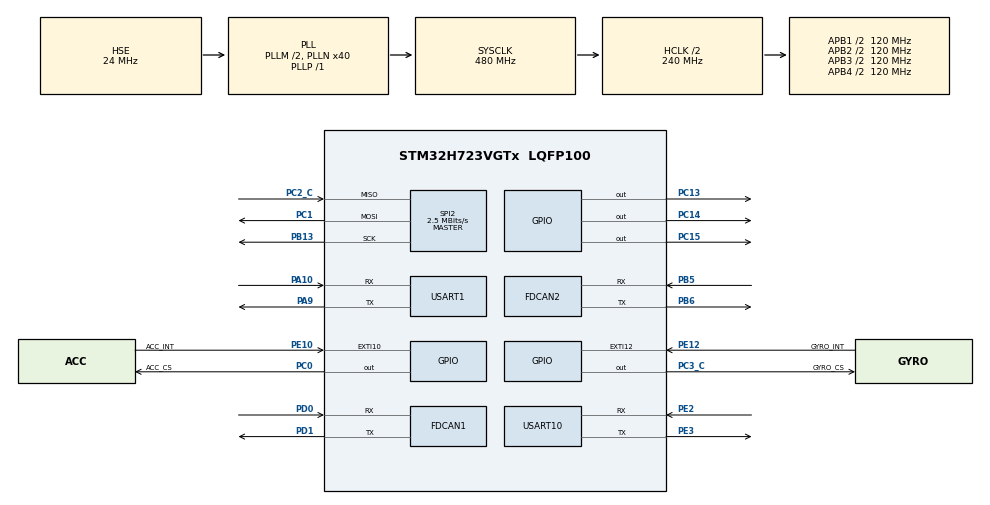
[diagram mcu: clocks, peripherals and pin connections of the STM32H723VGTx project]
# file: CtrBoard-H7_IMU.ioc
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Dma.Request0=SPI2_RX
Dma.Request1=SPI2_TX
Dma.SPI2_RX.0.Direction=DMA_PERIPH_TO_MEMORY
Dma.SPI2_RX.0.EventEnable=DISABLE
Dma.SPI2_RX.0.FIFOMode=DMA_FIFOMODE_DISABLE
Dma.SPI2_RX.0.Instance=DMA1_Stream0
Dma.SPI2_RX.0.MemDataAlignment=DMA_MDATAALIGN_BYTE
Dma.SPI2_RX.0.MemInc=DMA_MINC_ENABLE
Dma.SPI2_RX.0.Mode=DMA_NORMAL
Dma.SPI2_RX.0.PeriphDataAlignment=DMA_PDATAALIGN_BYTE
Dma.SPI2_RX.0.PeriphInc=DMA_PINC_DISABLE
Dma.SPI2_RX.0.Polarity=HAL_DMAMUX_REQ_GEN_RISING
Dma.SPI2_RX.0.Priority=DMA_PRIORITY_VERY_HIGH
Dma.SPI2_RX.0.RequestNumber=1
Dma.SPI2_RX.0.SignalID=NONE
Dma.SPI2_RX.0.SyncEnable=DISABLE
Dma.SPI2_RX.0.SyncPolarity=HAL_DMAMUX_SYNC_NO_EVENT
Dma.SPI2_RX.0.SyncRequestNumber=1
Dma.SPI2_RX.0.SyncSignalID=NONE
Dma.SPI2_TX.1.Direction=DMA_MEMORY_TO_PERIPH
Dma.SPI2_TX.1.EventEnable=DISABLE
Dma.SPI2_TX.1.FIFOMode=DMA_FIFOMODE_DISABLE
Dma.SPI2_TX.1.Instance=DMA1_Stream1
Dma.SPI2_TX.1.MemDataAlignment=DMA_MDATAALIGN_BYTE
Dma.SPI2_TX.1.MemInc=DMA_MINC_ENABLE
Dma.SPI2_TX.1.Mode=DMA_NORMAL
Dma.SPI2_TX.1.PeriphDataAlignment=DMA_PDATAALIGN_BYTE
Dma.SPI2_TX.1.PeriphInc=DMA_PINC_DISABLE
Dma.SPI2_TX.1.Polarity=HAL_DMAMUX_REQ_GEN_RISING
Dma.SPI2_TX.1.Priority=DMA_PRIORITY_HIGH
Dma.SPI2_TX.1.RequestNumber=1
Dma.SPI2_TX.1.SignalID=NONE
Dma.SPI2_TX.1.SyncEnable=DISABLE
Dma.SPI2_TX.1.SyncPolarity=HAL_DMAMUX_SYNC_NO_EVENT
Dma.SPI2_TX.1.SyncRequestNumber=1
Dma.SPI2_TX.1.SyncSignalID=NONE
FDCAN1.AutoRetransmission=ENABLE
FDCAN1.CalculateBaudRateNominal=1000000
FDCAN1.CalculateTimeBitNominal=1000
FDCAN1.CalculateTimeQuantumNominal=12.5
FDCAN1.DataSyncJumpWidth=2
FDCAN1.DataTimeSeg1=13
FDCAN1.DataTimeSeg2=2
FDCAN1.ExtFiltersNbr=4
FDCAN1.Mode=FDCAN_MODE_NORMAL
FDCAN1.NominalPrescaler=1
FDCAN1.NominalSyncJumpWidth=20
FDCAN1.NominalTimeSeg1=59
FDCAN1.NominalTimeSeg2=20
FDCAN1.ProtocolException=ENABLE
FDCAN1.RxBuffersNbr=2
FDCAN1.RxFifo0ElmtsNbr=8
FDCAN1.RxFifo1ElmtsNbr=8
FDCAN1.StdFiltersNbr=4
FDCAN1.TxBuffersNbr=8
FDCAN1.TxEventsNbr=8
FDCAN1.TxFifoQueueElmtsNbr=8
FDCAN2.AutoRetransmission=ENABLE
FDCAN2.CalculateBaudRateNominal=1000000
FDCAN2.CalculateTimeBitNominal=1000
FDCAN2.CalculateTimeQuantumNominal=12.5
FDCAN2.DataSyncJumpWidth=2
FDCAN2.DataTimeSeg1=13
FDCAN2.DataTimeSeg2=2
FDCAN2.ExtFiltersNbr=4
FDCAN2.NominalPrescaler=1
FDCAN2.NominalSyncJumpWidth=20
FDCAN2.NominalTimeSeg1=59
FDCAN2.NominalTimeSeg2=20
FDCAN2.ProtocolException=ENABLE
FDCAN2.RxBuffersNbr=2
FDCAN2.RxFifo0ElmtsNbr=8
FDCAN2.RxFifo1ElmtsNbr=8
FDCAN2.StdFiltersNbr=4
FDCAN2.TxBuffersNbr=8
FDCAN2.TxEventsNbr=8
FDCAN2.TxFifoQueueElmtsNbr=8
Mcu.Family=STM32H7
Mcu.Name=STM32H723VGTx
Mcu.Package=LQFP100
NVIC.DMA1_Stream0_IRQn=true\:1\:0\:true\:false\:true\:false\:true\:true
NVIC.DMA1_Stream1_IRQn=true\:2\:0\:true\:false\:true\:false\:true\:true
NVIC.FDCAN1_IT0_IRQn=true\:0\:0\:false\:false\:true\:true\:true\:true
NVIC.FDCAN1_IT1_IRQn=true\:0\:0\:false\:false\:true\:true\:true\:true
NVIC.PriorityGroup=NVIC_PRIORITYGROUP_4
NVIC.SPI2_IRQn=true\:5\:0\:true\:false\:true\:false\:true\:true
NVIC.TIM2_IRQn=true\:0\:0\:false\:false\:true\:true\:true\:true
NVIC.USART10_IRQn=true\:0\:0\:false\:false\:true\:true\:true\:true
PA10.Mode=Asynchronous
PA10.Signal=USART1_RX
PA13(JTMS/SWDIO).Mode=Serial_Wire
PA13(JTMS/SWDIO).Signal=DEBUG_JTMS-SWDIO
PA14(JTCK/SWCLK).Mode=Serial_Wire
PA14(JTCK/SWCLK).Signal=DEBUG_JTCK-SWCLK
PA9.Mode=Asynchronous
PA9.Signal=USART1_TX
PB13.GPIO_Speed=GPIO_SPEED_FREQ_VERY_HIGH
PB13.Mode=Full_Duplex_Master
PB13.Signal=SPI2_SCK
PB5.Mode=FDCAN_Activate
PB5.Signal=FDCAN2_RX
PB6.Mode=FDCAN_Activate
PB6.Signal=FDCAN2_TX
PC0.GPIO_Label=ACC_CS
PC0.GPIO_Speed=GPIO_SPEED_FREQ_VERY_HIGH
PC0.PinState=GPIO_PIN_SET
PC0.Signal=GPIO_Output
PC1.GPIO_Speed=GPIO_SPEED_FREQ_VERY_HIGH
PC1.Mode=Full_Duplex_Master
PC1.Signal=SPI2_MOSI
PC13.Signal=GPIO_Output
PC14-OSC32_IN.Signal=GPIO_Output
PC15-OSC32_OUT.Signal=GPIO_Output
PC2_C.GPIO_Speed=GPIO_SPEED_FREQ_VERY_HIGH
PC2_C.Mode=Full_Duplex_Master
PC2_C.Signal=SPI2_MISO
PC3_C.GPIO_Label=GYRO_CS
PC3_C.GPIO_Speed=GPIO_SPEED_FREQ_VERY_HIGH
PC3_C.PinState=GPIO_PIN_SET
PC3_C.Signal=GPIO_Output
PD0.Mode=FDCAN_Activate
PD0.Signal=FDCAN1_RX
PD1.Mode=FDCAN_Activate
PD1.Signal=FDCAN1_TX
PE10.GPIO_Label=ACC_INT
PE10.Signal=GPXTI10
PE12.GPIO_Label=GYRO_INT
PE12.Signal=GPXTI12
PE2.Mode=Asynchronous
PE2.Signal=USART10_RX
PE3.Mode=Asynchronous
PE3.Signal=USART10_TX
PH0-OSC_IN.Mode=HSE-External-Oscillator
PH0-OSC_IN.Signal=RCC_OSC_IN
PH1-OSC_OUT.Mode=HSE-External-Oscillator
PH1-OSC_OUT.Signal=RCC_OSC_OUT
ProjectManager.HeapSize=0x200
ProjectManager.StackSize=0x800
ProjectManager.TargetToolchain=STM32CubeIDE
RCC.ADCFreq_Value=48375000
RCC.APB1Freq_Value=120000000
RCC.APB2Freq_Value=120000000
RCC.APB3Freq_Value=120000000
RCC.APB4Freq_Value=120000000
RCC.CortexFreq_Value=480000000
RCC.D1PPRE=RCC_APB3_DIV2
RCC.D2PPRE1=RCC_APB1_DIV2
RCC.D2PPRE2=RCC_APB2_DIV2
RCC.D3PPRE=RCC_APB4_DIV2
RCC.DIVM1=2
RCC.DIVN1=40
RCC.DIVP1=1
RCC.DIVQ1=6
RCC.HCLKFreq_Value=240000000
RCC.HPRE=RCC_HCLK_DIV2
RCC.HSE_VALUE=24000000
RCC.PLL2FRACN=0
RCC.PLL3FRACN=0
RCC.PLLFRACN=0
RCC.PLLSourceVirtual=RCC_PLLSOURCE_HSE
RCC.SYSCLKFreq_VALUE=480000000
RCC.SYSCLKSource=RCC_SYSCLKSOURCE_PLLCLK
RCC.USBFreq_Value=80000000
SPI2.BaudRatePrescaler=SPI_BAUDRATEPRESCALER_32
SPI2.CLKPhase=SPI_PHASE_2EDGE
SPI2.CLKPolarity=SPI_POLARITY_HIGH
SPI2.CalculateBaudRate=2.5 MBits/s
SPI2.DataSize=SPI_DATASIZE_8BIT
SPI2.Direction=SPI_DIRECTION_2LINES
SPI2.Mode=SPI_MODE_MASTER
SPI2.VirtualType=VM_MASTER
TIM2.Period=999
TIM2.Prescaler=239
USART1.VirtualMode-Asynchronous=VM_ASYNC
USART10.VirtualMode=VM_ASYNC
VP_MEMORYMAP_VS_MEMORYMAP.Mode=CurAppReg
VP_TIM2_VS_ClockSourceINT.Mode=Internal
board=custom

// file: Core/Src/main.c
/* USER CODE BEGIN Header */
/**
  ******************************************************************************
  * @file           : main.c
  * @brief          : Main program body
  ******************************************************************************
  * @attention
  *
  * Copyright (c) 2025 STMicroelectronics.
  * All rights reserved.
  *
  * This software is licensed under terms that can be found in the LICENSE file
  * in the root directory of this software component.
  * If no LICENSE file comes with this software, it is provided AS-IS.
  *
  ******************************************************************************
  */
/* USER CODE END Header */
#include "main.h"
#include "dma.h"
#include "fdcan.h"
#include "spi.h"
#include "tim.h"
#include "usart.h"
#include "gpio.h"

/* USER CODE BEGIN Includes */
//#include "BMI088driver.h"
#include "BMI088Middleware.h"
#include <string.h>
#include <stdio.h>
/* USER CODE END Includes */

/* USER CODE BEGIN PV */
// --- Speed control loop configuration ---
    float v_target = 0.0f;          // Target linear velocity (can be 0 initially; later from RC/manual)
    float Kv_p     = 0.1f;          // Velocity P gain (tune gradually)
    float Kv_i     = 0.01f;         // Velocity I gain (start small)

    float v_integral      = 0.0f;
    float v_integral_limit = 5.0f;  // Prevent integral windup

    float base_pitch       = -1.5f; // Calibrated base pitch (degrees)
    float pitch_speed_limit = 6.0f; // Maximum pitch offset from joystick (degrees)
    float torque_limit      = 1.5f; // Max motor torque headroom

    // Velocity loop frequency: 1kHz / 10 = 100 Hz
	#define VEL_LOOP_DIV 10
	uint8_t vel_loop_counter = 0;

	volatile float odrive_left_vel  = 0.0f;
	volatile float odrive_right_vel = 0.0f;
	volatile float odrive_left_pos  = 0.0f;
	volatile float odrive_right_pos = 0.0f;

    // ===== YAW control =====
    float yaw               = 0.0f;      // Current yaw angle (approx. from integration)
    float Ky_p              = 0.0f;      // Yaw angle P gain
    float Ky_d              = 0.02f;     // Yaw rate D gain
    float yaw_torque_limit  = 0.4f;      // Maximum torque allocated to yaw

    // Wheel / robot geometry parameters (adjust to your robot)
    #define WHEEL_RADIUS_M   0.06f   // 0.06 m (example: 6 cm radius)
    #define GEAR_RATIO       1.0f    // Use 1.0 for direct drive, or set gearbox reduction ratio

    // Position loop
    float x_target      = 0.0f;     // Desired robot position (x=0)
    float Kx_p          = 0.0f;     // Position P gain (try 0.5~2 to start)
    float Kx_i          = 0.0f;     // Position I (start disabled; enable after tuning)
    float x_integral    = 0.0f;
    float x_int_limit   = 0.5f;     // Integral limit (meters)

    // Record initial average position at power-up
    float x0_turns = 0.0f;          // Origin in wheel turns
    uint8_t pos_initialized = 0;    // Position initialization flag

    // Global variables:
	volatile float odrive_left_pos_turns  = 0.0f;
	volatile float odrive_right_pos_turns = 0.0f;
	volatile float odrive_left_vel_turns  = 0.0f;
	volatile float odrive_right_vel_turns = 0.0f;

	// === RC command from Pi (forward/back & left/right) ===
	volatile float rc_fb = 0.0f;   // -1.0 .. +1.0 (forward/back)
	volatile float rc_lr = 0.0f;   // -1.0 .. +1.0 (left/right turn)

	static uint8_t uart10_rx_byte = 0;

	// UART10 simple frame parser state
	typedef enum {
	    RC_STATE_WAIT_AA = 0,
	    RC_STATE_WAIT_55,
	    RC_STATE_FB,
	    RC_STATE_LR,
	    RC_STATE_CHK
	} RC_State_t;

	static RC_State_t rc_state = RC_STATE_WAIT_AA;
	static int8_t rc_fb_int = 0;
	static int8_t rc_lr_int = 0;
	static uint8_t rc_checksum = 0;
	static uint8_t rc_sum = 0;
	// debug:
	volatile uint32_t rc_byte_count      = 0;   // total bytes seen on USART1
	volatile uint32_t rc_frame_ok_count  = 0;   // frames with correct checksum
	volatile int8_t   rc_last_fb_int     = 0;
	volatile int8_t   rc_last_lr_int     = 0;

	volatile uint8_t  rc_last_byte       = 0;

/* USER CODE END PV */

void SystemClock_Config(void);

/* USER CODE BEGIN 0 */
#include "bsp_fdcan.h"

// ===== Debug: loop frequency & UART print =====
char uart_buf[128];
uint32_t loop_counter  = 0;
uint32_t last_print_ms = 0;

// ===== Mini ODrive CAN constants =====
#define ODRIVE_LEFT_NODE_ID   2   // CAN1
#define ODRIVE_RIGHT_NODE_ID  3   // CAN2

#define CMD_SET_AXIS_STATE       0x07
#define CMD_SET_CONTROLLER_MODE  0x0B
#define CMD_SET_INPUT_TORQUE     0x0E
#define CMD_GET_ENCODER_ESTIMATES  0x09

#define AXIS_STATE_IDLE          1
#define AXIS_STATE_CLOSED_LOOP   8

#define CONTROL_MODE_TORQUE      1
#define INPUT_MODE_PASSTHROUGH   1

// 1 kHz loop
volatile uint8_t imu_loop_flag = 0;
volatile float   pitch = 0.0f;
volatile float   roll  = 0.0f;

#define RAD2DEG 57.2957795f
const float dt = 0.001f;    // 1 kHz

// ===== Balance controller gains (tune these) =====
float Kp = 0.004f;            // proportional on angle (deg)
float Kd = 0.02f;           // derivative on rate (deg/s)
float Ki = 0.008f;            // you can start with 0

float pitch_target = 0.0f;
float integral_term = 0.0f;
float integral_limit = 10.0f;

// ===== CAN helper =====
static inline uint16_t odrive_build_id(uint8_t node_id, uint8_t cmd_id)
{
    return ((uint16_t)node_id << 5) | (cmd_id & 0x1F);
}

void odrive_set_axis_state(FDCAN_HandleTypeDef *hcan, uint8_t node_id, uint32_t state)
{
    uint8_t data[8] = {0};
    data[0] = (uint8_t)(state & 0xFF);
    data[1] = (uint8_t)((state >> 8) & 0xFF);
    data[2] = (uint8_t)((state >> 16) & 0xFF);
    data[3] = (uint8_t)((state >> 24) & 0xFF);

    uint16_t id = odrive_build_id(node_id, CMD_SET_AXIS_STATE);
    fdcanx_send_data(hcan, id, data, 4);
}

void odrive_set_controller_mode(FDCAN_HandleTypeDef *hcan,
                                uint8_t node_id,
                                uint32_t control_mode,
                                uint32_t input_mode)
{
    uint8_t data[8];

    data[0] = (uint8_t)(control_mode & 0xFF);
    data[1] = (uint8_t)((control_mode >> 8) & 0xFF);
    data[2] = (uint8_t)((control_mode >> 16) & 0xFF);
    data[3] = (uint8_t)((control_mode >> 24) & 0xFF);

    data[4] = (uint8_t)(input_mode & 0xFF);
    data[5] = (uint8_t)((input_mode >> 8) & 0xFF);
    data[6] = (uint8_t)((input_mode >> 16) & 0xFF);
    data[7] = (uint8_t)((input_mode >> 24) & 0xFF);

    uint16_t id = odrive_build_id(node_id, CMD_SET_CONTROLLER_MODE);
    fdcanx_send_data(hcan, id, data, 8);
}

void odrive_set_input_torque(FDCAN_HandleTypeDef *hcan, uint8_t node_id, float torque)
{
    uint8_t data[8] = {0};

    union {
        float f;
        uint8_t b[4];
    } u;
    u.f = torque;

    data[0] = u.b[0];
    data[1] = u.b[1];
    data[2] = u.b[2];
    data[3] = u.b[3];

    uint16_t id = odrive_build_id(node_id, CMD_SET_INPUT_TORQUE);
    fdcanx_send_data(hcan, id, data, 4);
}

    typedef struct {
        float pos_turns;   // Position in wheel turns
        float vel_turns_s; // Velocity in turns per second
    } OdriveState;

OdriveState odrive_get_state(FDCAN_HandleTypeDef *hcan, uint8_t node_id)
{
    OdriveState st = {0.0f, 0.0f};

    uint16_t req_id = odrive_build_id(node_id, CMD_GET_ENCODER_ESTIMATES);

    uint8_t tx_data[8] = {0};
    fdcanx_send_data(hcan, req_id, tx_data, 0);  // Request

    uint32_t start = HAL_GetTick();
    uint16_t rec_id;
    uint8_t rx_buf[8];

    while ((HAL_GetTick() - start) < 2)   // Wait at most 2 ms
    {
        uint8_t len = fdcanx_receive(hcan, &rec_id, rx_buf);
        if (len > 0 && rec_id == req_id)
        {
            union { float f; uint8_t b[4]; } u_pos, u_vel;
            u_pos.b[0] = rx_buf[0];
            u_pos.b[1] = rx_buf[1];
            u_pos.b[2] = rx_buf[2];
            u_pos.b[3] = rx_buf[3];

            u_vel.b[0] = rx_buf[4];
            u_vel.b[1] = rx_buf[5];
            u_vel.b[2] = rx_buf[6];
            u_vel.b[3] = rx_buf[7];

            st.pos_turns   = u_pos.f;
            st.vel_turns_s = u_vel.f;
            return st;
        }
    }

    return st; // Return zeros if no response received
}

// === RC UART frame parser: 0xAA 0x55 fb_int lr_int checksum ===
static void RC_UART_ProcessByte(uint8_t b)
{
    switch (rc_state)
    {
    case RC_STATE_WAIT_AA:
        if (b == 0xAA) {
            rc_state = RC_STATE_WAIT_55;
            rc_sum = b;
        }
        break;

    case RC_STATE_WAIT_55:
        if (b == 0x55) {
            rc_state = RC_STATE_FB;
            rc_sum += b;
        } else {
            rc_state = RC_STATE_WAIT_AA;
        }
        break;

    case RC_STATE_FB:
        rc_fb_int = (int8_t)b;
        rc_sum += b;
        rc_state = RC_STATE_LR;
        break;

    case RC_STATE_LR:
        rc_lr_int = (int8_t)b;
        rc_sum += b;
        rc_state = RC_STATE_CHK;
        break;

    case RC_STATE_CHK:
        rc_checksum = b;
        if ((rc_sum & 0xFF) == rc_checksum)
        {
            rc_fb = (float)rc_fb_int / 100.0f;
            rc_lr = (float)rc_lr_int / 100.0f;

            rc_frame_ok_count++;
            rc_last_fb_int = rc_fb_int;
            rc_last_lr_int = rc_lr_int;
        }
        rc_state = RC_STATE_WAIT_AA;
        break;

    default:
        rc_state = RC_STATE_WAIT_AA;
        break;
    }
}
/* USER CODE END 0 */

int main(void)
{

  /* MCU Configuration--------------------------------------------------------*/

  /* Reset of all peripherals, Initializes the Flash interface and the Systick. */
  HAL_Init();

  /* Configure the system clock */
  SystemClock_Config();

  /* Initialize all configured peripherals */
  MX_GPIO_Init();
  MX_DMA_Init();
  MX_SPI2_Init();
  MX_USART1_UART_Init();
  MX_TIM2_Init();
  MX_FDCAN1_Init();
  MX_FDCAN2_Init();
  MX_USART10_UART_Init();
  /* USER CODE BEGIN 2 */

  // Start UART10 RX interrupt for RC frames from Pi
  HAL_UART_Receive_IT(&huart10, &uart10_rx_byte, 1);
  // GPIO, FDCAN, USART, TIM, SPI already in MX_*_Init();

    // Enable motor power (adjust pins if needed)
    HAL_GPIO_WritePin(GPIOC, GPIO_PIN_14, GPIO_PIN_SET);
    HAL_GPIO_WritePin(GPIOC, GPIO_PIN_13, GPIO_PIN_SET);
    HAL_GPIO_WritePin(GPIOC, GPIO_PIN_15, GPIO_PIN_SET);
    HAL_Delay(20);

    // Init CANs (this calls HAL_FDCAN_Start etc.)
    bsp_can_init();
    HAL_Delay(200);

    // Init IMU
    uint8_t imu_err = BMI088_init();
    // (optional) print ok/err via UART here

    // Start TIM2 1kHz interrupt
    HAL_TIM_Base_Start_IT(&htim2);

    // Put both ODrives into CLOSED_LOOP torque mode
    odrive_set_axis_state(&hfdcan1, ODRIVE_LEFT_NODE_ID,  AXIS_STATE_CLOSED_LOOP);
    HAL_Delay(100);
    odrive_set_controller_mode(&hfdcan1, ODRIVE_LEFT_NODE_ID, CONTROL_MODE_TORQUE, INPUT_MODE_PASSTHROUGH);
    HAL_Delay(100);

    odrive_set_axis_state(&hfdcan2, ODRIVE_RIGHT_NODE_ID, AXIS_STATE_CLOSED_LOOP);
    HAL_Delay(100);
    odrive_set_controller_mode(&hfdcan2, ODRIVE_RIGHT_NODE_ID, CONTROL_MODE_TORQUE, INPUT_MODE_PASSTHROUGH);
    HAL_Delay(100);

  /* USER CODE END 2 */

  /* Infinite loop */
  /* USER CODE BEGIN WHILE */
    float gyro[3];
    float accel[3];
    float temp = 0.0f;

    float prev_error = 0.0f;

    // === Init debug timing ===
    last_print_ms = HAL_GetTick();
    // add this:
    pitch_target = base_pitch;
  while (1)
  {
	  if (!imu_loop_flag)
	           continue;
	       imu_loop_flag = 0;

	       // 1) Read IMU
	       BMI088_read(gyro, accel, &temp);

	       // 2) Complementary filter to update pitch / roll
	       // (reuse your old code; sketch shown here)

	       const float alpha = 0.98f;
	       float ax = accel[0];
	       float ay = accel[1];
	       float az = accel[2];
	       float gx = gyro[0];   // deg/s
	       float gy = gyro[1];   // deg/s
	       float gz = gyro[2];   // deg/s  <-- YAW

	       float pitch_acc = atan2f(-ax, sqrtf(ay * ay + az * az)) * RAD2DEG;
	       float roll_acc  = atan2f( ay, az ) * RAD2DEG;

	       // assuming gy is pitch rate
	       pitch = alpha * (pitch + gy * dt) + (1.0f - alpha) * pitch_acc;
	       roll  = alpha * (roll  + gx * dt) + (1.0f - alpha) * roll_acc;
        yaw += gz * dt;   // Yaw in degrees; approximate heading (will drift over time)

	       // ==================== vel + pos loop ===========================
	       vel_loop_counter++;
	       if (vel_loop_counter >= VEL_LOOP_DIV)
	       {
	           vel_loop_counter = 0;

               // 1) Read ODrive state (kept for future position/velocity usage)
	           OdriveState st_left  = odrive_get_state(&hfdcan1, ODRIVE_LEFT_NODE_ID);
	           OdriveState st_right = odrive_get_state(&hfdcan2, ODRIVE_RIGHT_NODE_ID);

	           odrive_left_pos_turns  = st_left.pos_turns;
	           odrive_right_pos_turns = st_right.pos_turns;
	           odrive_left_vel_turns  = st_left.vel_turns_s;
	           odrive_right_vel_turns = st_right.vel_turns_s;

	           if (!pos_initialized)
	           {
	               x0_turns = 0.5f * (odrive_left_pos_turns + odrive_right_pos_turns);
	               pos_initialized = 1;
	           }

               // === RC forward/back: map directly to pitch offset ===
               float pitch_offset = rc_fb * pitch_speed_limit;   // rc_fb in [-1, 1]

	           pitch_target = base_pitch - pitch_offset;
	       }

        // =================== Attitude (pitch) PID =======================
        float error = pitch_target - pitch;     // target = 0 deg

	       integral_term += error * dt;
	       if (integral_term >  integral_limit) integral_term =  integral_limit;
	       if (integral_term < -integral_limit) integral_term = -integral_limit;

        float derivative = -gy;   // gy>0 forward tilt; derivative negative to provide damping/braking

	       float torque_cmd = Kp * error + Kd * derivative + Ki * integral_term;

        // Clamp torque command
	       if (torque_cmd >  torque_limit) torque_cmd =  torque_limit;
	       if (torque_cmd < -torque_limit) torque_cmd = -torque_limit;

        // =================== YAW PID (differential torque) =======================
	       // rc_lr ∈ [-1, +1]  →   yaw_torque ∈ [-yaw_torque_limit, +yaw_torque_limit]

        float yaw_torque = rc_lr * 0.1 * yaw_torque_limit;  // Primary control: RC (remote controller)

        // Optional: use gyro for damping to prevent divergence (acts like D term)
        float yaw_damping = Ky_d * gz;   // gz > 0 when turning; produces counter torque
	       yaw_torque -= yaw_damping;

        // Clamp yaw torque
	       if (yaw_torque >  yaw_torque_limit) yaw_torque =  yaw_torque_limit;
	       if (yaw_torque < -yaw_torque_limit) yaw_torque = -yaw_torque_limit;

        // =================== Compose left/right wheel torques =======================
        // Pitch contributes common-mode torque; yaw contributes differential torque
	       float left_torque  = torque_cmd + yaw_torque;
	       float right_torque = torque_cmd - yaw_torque;

        // (If yaw direction is reversed, swap the signs on left/right torques)

	       odrive_set_input_torque(&hfdcan1, ODRIVE_LEFT_NODE_ID,  -left_torque);
	       odrive_set_input_torque(&hfdcan2, ODRIVE_RIGHT_NODE_ID, right_torque);

	       prev_error = error;

	       // ===== DEBUG: measure loop frequency & print pitch =====
			 loop_counter++;
			 uint32_t now = HAL_GetTick();   // ms since boot

			 // print every 100 ms (10 Hz) so UART doesn't destroy timing
			 if ((now - last_print_ms) >= 100)
			 {
				 float elapsed_ms = (float)(now - last_print_ms);
				 float loop_hz    = (loop_counter * 1000.0f) / elapsed_ms;

				 int n = snprintf(uart_buf, sizeof(uart_buf),
				                  "[H725] pitch=%.2f pt=%.2f fb=%.2f lr=%.2f fb_int=%d frames=%lu loop=%.1fHz\r\n",
				                  pitch, pitch_target, rc_fb, rc_lr,
				                  (int)rc_fb_int,
				                  rc_frame_ok_count,
				                  loop_hz);

				 HAL_UART_Transmit(&huart1, (uint8_t*)uart_buf, n, 10);

				 loop_counter  = 0;
				 last_print_ms = now;
			 }

    /* USER CODE END WHILE */

  }
}

void SystemClock_Config(void)
{
  RCC_OscInitTypeDef RCC_OscInitStruct = {0};
  RCC_ClkInitTypeDef RCC_ClkInitStruct = {0};

  /** Supply configuration update enable
  */
  HAL_PWREx_ConfigSupply(PWR_LDO_SUPPLY);

  /** Configure the main internal regulator output voltage
  */
  __HAL_PWR_VOLTAGESCALING_CONFIG(PWR_REGULATOR_VOLTAGE_SCALE0);

  while(!__HAL_PWR_GET_FLAG(PWR_FLAG_VOSRDY)) {}

  /** Initializes the RCC Oscillators according to the specified parameters
  * in the RCC_OscInitTypeDef structure.
  */
  RCC_OscInitStruct.OscillatorType = RCC_OSCILLATORTYPE_HSE;
  RCC_OscInitStruct.HSEState = RCC_HSE_ON;
  RCC_OscInitStruct.PLL.PLLState = RCC_PLL_ON;
  RCC_OscInitStruct.PLL.PLLSource = RCC_PLLSOURCE_HSE;
  RCC_OscInitStruct.PLL.PLLM = 2;
  RCC_OscInitStruct.PLL.PLLN = 40;
  RCC_OscInitStruct.PLL.PLLP = 1;
  RCC_OscInitStruct.PLL.PLLQ = 6;
  RCC_OscInitStruct.PLL.PLLR = 2;
  RCC_OscInitStruct.PLL.PLLRGE = RCC_PLL1VCIRANGE_3;
  RCC_OscInitStruct.PLL.PLLVCOSEL = RCC_PLL1VCOWIDE;
  RCC_OscInitStruct.PLL.PLLFRACN = 0;
  if (HAL_RCC_OscConfig(&RCC_OscInitStruct) != HAL_OK)
  {
    Error_Handler();
  }

  /** Initializes the CPU, AHB and APB buses clocks
  */
  RCC_ClkInitStruct.ClockType = RCC_CLOCKTYPE_HCLK|RCC_CLOCKTYPE_SYSCLK
                              |RCC_CLOCKTYPE_PCLK1|RCC_CLOCKTYPE_PCLK2
                              |RCC_CLOCKTYPE_D3PCLK1|RCC_CLOCKTYPE_D1PCLK1;
  RCC_ClkInitStruct.SYSCLKSource = RCC_SYSCLKSOURCE_PLLCLK;
  RCC_ClkInitStruct.SYSCLKDivider = RCC_SYSCLK_DIV1;
  RCC_ClkInitStruct.AHBCLKDivider = RCC_HCLK_DIV2;
  RCC_ClkInitStruct.APB3CLKDivider = RCC_APB3_DIV2;
  RCC_ClkInitStruct.APB1CLKDivider = RCC_APB1_DIV2;
  RCC_ClkInitStruct.APB2CLKDivider = RCC_APB2_DIV2;
  RCC_ClkInitStruct.APB4CLKDivider = RCC_APB4_DIV2;

  if (HAL_RCC_ClockConfig(&RCC_ClkInitStruct, FLASH_LATENCY_3) != HAL_OK)
  {
    Error_Handler();
  }
}

/* USER CODE BEGIN 4 */
void HAL_TIM_PeriodElapsedCallback(TIM_HandleTypeDef *htim)
{
    if (htim->Instance == TIM2)
    {
        imu_loop_flag = 1;
    }
}

void HAL_UART_RxCpltCallback(UART_HandleTypeDef *huart)
{
    if (huart->Instance == USART10)
    {
        rc_byte_count++;
        rc_last_byte = uart10_rx_byte;

        RC_UART_ProcessByte(uart10_rx_byte);

        // re-arm RX on UART10 (IMPORTANT: huart10, NOT huart1)
        HAL_UART_Receive_IT(&huart10, &uart10_rx_byte, 1);
    }
}

/* USER CODE END 4 */

void Error_Handler(void)
{
  __disable_irq();
  while (1)
  {
  }
}
